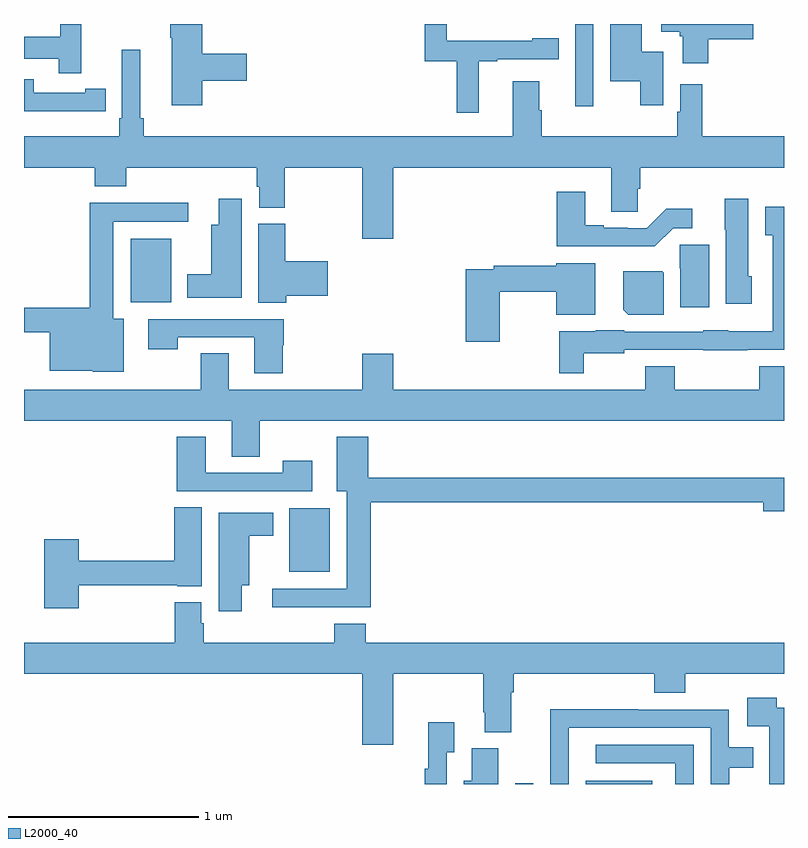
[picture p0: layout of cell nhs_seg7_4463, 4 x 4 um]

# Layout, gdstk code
import gdstk
lib = gdstk.Library(unit=1e-6, precision=1e-09)
def R(c, l, rs):  # rectangles x0, y0, x1, y1
    for r in rs: c.add(gdstk.rectangle(r[:2], r[2:], *l))
def P(c, l, *ps):  # polygons
    for p in ps: c.add(gdstk.Polygon(p, *l))
L2000_40 = (2000, 40)

nhs_seg7_4463 = lib.new_cell('nhs_seg7_4463')
R(nhs_seg7_4463, L2000_40, [(393.585,1036,393.681,1036.003), (393.956,1036,394.306,1036.018), (392.396,1037.117,392.608,1037.452), (391.562,1038.536,391.774,1038.871), (393.9,1039.566,393.996,1040)])
P(nhs_seg7_4463, L2000_40, [(391.937,1039.702),(392.173,1039.702),(392.173,1039.844),(391.937,1039.844),(391.937,1040),(391.771,1040),(391.771,1039.927),(391.778,1039.927),(391.778,1039.572),(391.937,1039.572)],
  [(394.601,1039.919),(394.837,1039.919),(394.837,1040),(394.353,1040),(394.353,1039.958),(394.452,1039.958),(394.452,1039.935),(394.466,1039.935),(394.466,1039.794),(394.601,1039.794)],
  [(394.365,1039.855),(394.252,1039.855),(394.252,1040),(394.086,1040),(394.086,1039.7),(394.244,1039.7),(394.244,1039.572),(394.365,1039.572)],
  [(391.301,1040),(391.191,1040),(391.191,1039.934),(391,1039.934),(391,1039.818),(391.183,1039.818),(391.183,1039.74),(391.301,1039.74)],
  [(393.394,1039.803),(393.49,1039.803),(393.49,1039.815),(393.815,1039.815),(393.815,1039.924),(393.675,1039.924),(393.675,1039.911),(393.225,1039.911),(393.225,1040),(393.109,1040),(393.109,1039.803),(393.277,1039.803),(393.277,1039.533),(393.394,1039.533)],
  [(392.944,1039.244),(394.091,1039.244),(394.091,1039.012),(394.23,1039.012),(394.23,1039.134),(394.244,1039.134),(394.244,1039.244),(395,1039.244),(395,1039.408),(394.571,1039.408),(394.571,1039.684),(394.455,1039.684),(394.455,1039.538),(394.439,1039.538),(394.439,1039.408),(393.725,1039.408),(393.725,1039.545),(393.712,1039.545),(393.712,1039.699),(393.572,1039.699),(393.572,1039.408),(391.631,1039.408),(391.631,1039.504),(391.612,1039.504),(391.612,1039.864),(391.515,1039.864),(391.515,1039.504),(391.502,1039.504),(391.502,1039.408),(391,1039.408),(391,1039.244),(391.373,1039.244),(391.373,1039.145),(391.538,1039.145),(391.538,1039.244),(392.225,1039.244),(392.225,1039.143),(392.237,1039.143),(392.237,1039.033),(392.373,1039.033),(392.373,1039.244),(392.78,1039.244),(392.78,1038.87),(392.944,1038.87)],
  [(391.322,1039.542),(391.43,1039.542),(391.43,1039.658),(391.322,1039.658),(391.322,1039.638),(391.05,1039.638),(391.05,1039.71),(391,1039.71),(391,1039.541),(391.322,1039.541)],
  [(394.416,1038.924),(394.516,1038.924),(394.516,1039.027),(394.381,1039.027),(394.278,1038.924),(394.178,1038.924),(394.178,1038.927),(394.051,1038.927),(394.051,1038.94),(393.955,1038.94),(393.955,1039.117),(393.803,1039.117),(393.803,1038.83),(394.321,1038.83)],
  [(394.831,1038.672),(394.813,1038.672),(394.813,1039.081),(394.688,1039.081),(394.688,1038.918),(394.694,1038.918),(394.694,1038.528),(394.831,1038.528)],
  [(392.146,1039.081),(392.024,1039.081),(392.024,1038.943),(391.985,1038.943),(391.985,1038.682),(391.859,1038.682),(391.859,1038.56),(392.146,1038.56)],
  [(391.525,1038.448),(391.471,1038.448),(391.471,1038.96),(391.864,1038.96),(391.864,1039.058),(391.346,1039.058),(391.346,1038.506),(391,1038.506),(391,1038.378),(391.136,1038.378),(391.136,1038.176),(391.362,1038.176),(391.362,1038.17),(391.525,1038.17)],
  [(393.946,1038.266),(394.158,1038.266),(394.158,1038.285),(394.575,1038.285),(394.575,1038.284),(394.807,1038.284),(394.807,1038.285),(395,1038.285),(395,1039.039),(394.901,1039.039),(394.901,1038.887),(394.941,1038.887),(394.941,1038.382),(394.707,1038.382),(394.707,1038.388),(394.575,1038.388),(394.575,1038.381),(394.158,1038.381),(394.158,1038.388),(394.008,1038.388),(394.008,1038.382),(393.817,1038.382),(393.817,1038.161),(393.946,1038.161)],
  [(392.381,1038.569),(392.599,1038.569),(392.599,1038.752),(392.376,1038.752),(392.376,1038.948),(392.234,1038.948),(392.234,1038.532),(392.381,1038.532)],
  [(394.606,1038.837),(394.45,1038.837),(394.45,1038.714),(394.454,1038.714),(394.454,1038.51),(394.606,1038.51)],
  [(393.504,1038.592),(393.8,1038.592),(393.8,1038.47),(394.006,1038.47),(394.006,1038.742),(393.8,1038.742),(393.8,1038.728),(393.472,1038.728),(393.472,1038.708),(393.326,1038.708),(393.326,1038.327),(393.504,1038.327)],
  [(394.366,1038.692),(394.358,1038.7),(394.154,1038.7),(394.154,1038.496),(394.18,1038.47),(394.366,1038.47)],
  [(392.361,1038.309),(392.366,1038.309),(392.366,1038.447),(391.653,1038.447),(391.653,1038.288),(391.809,1038.288),(391.809,1038.351),(392.213,1038.351),(392.213,1038.162),(392.361,1038.162)],
  [(392.241,1037.912),(395,1037.912),(395,1038.2),(394.87,1038.2),(394.87,1038.076),(394.425,1038.076),(394.425,1038.2),(394.27,1038.2),(394.27,1038.076),(392.944,1038.076),(392.944,1038.265),(392.78,1038.265),(392.78,1038.076),(392.077,1038.076),(392.077,1038.266),(391.93,1038.266),(391.93,1038.076),(391,1038.076),(391,1037.912),(392.093,1037.912),(392.093,1037.722),(392.241,1037.722)],
  [(392.825,1037.482),(394.892,1037.482),(394.892,1037.435),(395,1037.435),(395,1037.611),(392.812,1037.611),(392.812,1037.827),(392.645,1037.827),(392.645,1037.54),(392.699,1037.54),(392.699,1037.028),(392.307,1037.028),(392.307,1036.93),(392.825,1036.93)],
  [(392.518,1037.701),(392.362,1037.701),(392.362,1037.637),(391.957,1037.637),(391.957,1037.827),(391.805,1037.827),(391.805,1037.541),(392.518,1037.541)],
  [(391.289,1037.046),(391.806,1037.046),(391.806,1037.042),(391.936,1037.042),(391.936,1037.456),(391.79,1037.456),(391.79,1037.174),(391.289,1037.174),(391.289,1037.287),(391.106,1037.287),(391.106,1036.926),(391.289,1036.926)],
  [(392.146,1037.045),(392.185,1037.045),(392.185,1037.306),(392.311,1037.306),(392.311,1037.428),(392.024,1037.428),(392.024,1036.908),(392.146,1036.908)],
  [(392.944,1036.58),(393.418,1036.58),(393.418,1036.378),(393.425,1036.378),(393.425,1036.273),(393.565,1036.273),(393.565,1036.484),(393.578,1036.484),(393.578,1036.58),(394.316,1036.58),(394.316,1036.481),(394.481,1036.481),(394.481,1036.58),(395,1036.58),(395,1036.744),(392.798,1036.744),(392.798,1036.843),(392.633,1036.843),(392.633,1036.744),(391.946,1036.744),(391.946,1036.845),(391.933,1036.845),(391.933,1036.957),(391.793,1036.957),(391.793,1036.744),(391,1036.744),(391,1036.58),(392.78,1036.58),(392.78,1036.206),(392.944,1036.206)],
  [(395,1036.401),(394.962,1036.401),(394.962,1036.453),(394.806,1036.453),(394.806,1036.305),(394.923,1036.305),(394.923,1036.001),(394.922,1036.001),(394.922,1036),(395,1036)],
  [(393.867,1036.296),(394.614,1036.296),(394.614,1036),(394.711,1036),(394.711,1036.086),(394.838,1036.086),(394.838,1036.194),(394.71,1036.194),(394.71,1036.392),(394.232,1036.392),(394.232,1036.394),(393.77,1036.394),(393.77,1036.09),(393.771,1036.09),(393.771,1036),(393.867,1036)],
  [(393.225,1036.168),(393.265,1036.168),(393.265,1036.324),(393.128,1036.324),(393.128,1036.079),(393.109,1036.079),(393.109,1036),(393.225,1036)],
  [(394.524,1036.206),(394.008,1036.206),(394.008,1036.11),(394.428,1036.11),(394.428,1036),(394.524,1036)],
  [(393.496,1036.188),(393.356,1036.188),(393.356,1036.018),(393.314,1036.018),(393.314,1036),(393.496,1036)])

lib.write_gds('nhs_seg7_4463.gds')
